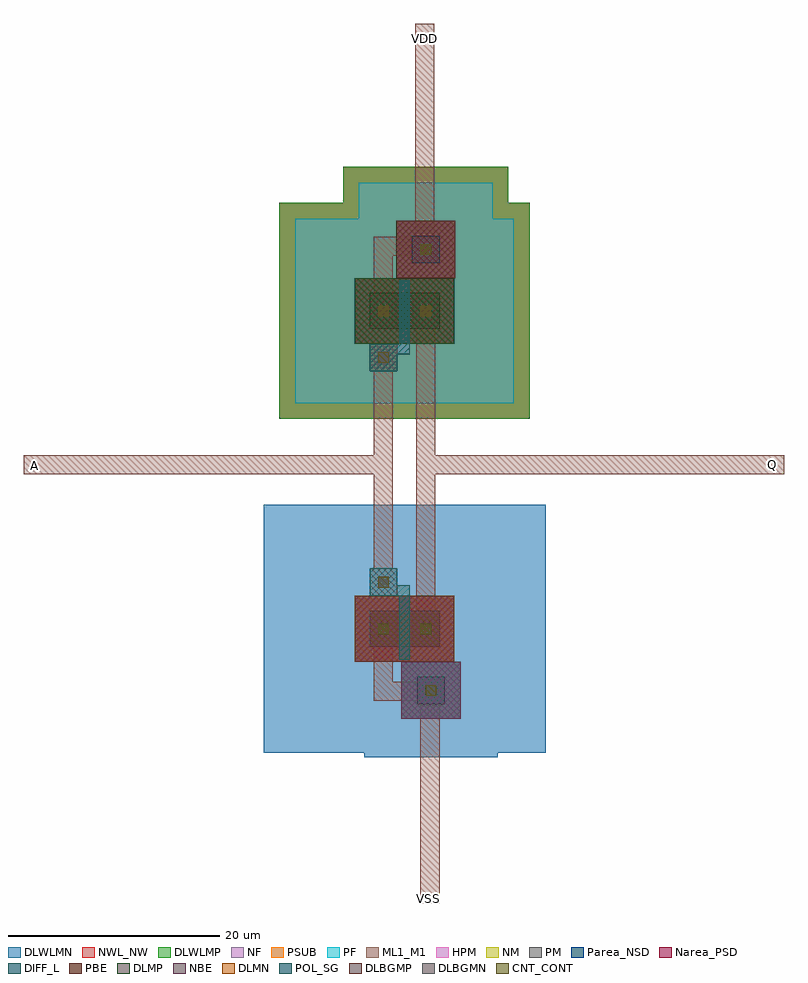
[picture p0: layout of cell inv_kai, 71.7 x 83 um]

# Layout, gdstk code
import gdstk
lib = gdstk.Library(unit=1e-6, precision=1e-07)
def R(c, l, rs):  # rectangles x0, y0, x1, y1
    for r in rs: c.add(gdstk.rectangle(r[:2], r[2:], *l))
DIFF_L = (3, 0)
NM = (7, 0)
POL_SG = (8, 0)
Narea_PSD = (9, 0)
CNT_CONT = (11, 0)
ML1_M1 = (13, 0)
NF = (25, 0)
PF = (26, 0)
Parea_NSD = (28, 0)
HPM = (33, 0)
PM = (35, 0)
NWL_NW = (36, 0)
PSUB = (140, 0)
PBE = (146, 0)
NBE = (147, 0)
DLWLMP = (150, 0)
DLWLMN = (151, 0)
DLMP = (157, 0)
DLMN = (158, 0)
DLBGMP = (177, 0)
DLBGMN = (178, 0)

dcont = lib.new_cell('dcont')
R(dcont, DIFF_L, [(-1.3,-1.3,1.3,1.3)])
R(dcont, CNT_CONT, [(-0.5,-0.5,0.5,0.5)])
R(dcont, ML1_M1, [(-1.3,-1.3,1.3,1.3), (-0.5,-0.5,0.5,0.5)])

pcont = lib.new_cell('pcont')
R(pcont, POL_SG, [(-1.3,-1.3,1.3,1.3)])
R(pcont, CNT_CONT, [(-0.5,-0.5,0.5,0.5)])
R(pcont, ML1_M1, [(-1.3,-1.3,1.3,1.3), (-0.5,-0.5,0.5,0.5)])

c_dcont = lib.new_cell('DCONT')
R(c_dcont, DIFF_L, [(-1.3,-1.3,1.3,1.3)])
R(c_dcont, CNT_CONT, [(-0.5,-0.5,0.5,0.5)])
R(c_dcont, ML1_M1, [(-1.3,-1.3,1.3,1.3), (-0.5,-0.5,0.5,0.5)])

nsubcont = lib.new_cell('nsubcont')
R(nsubcont, NM, [(-2.8,-2.7,2.8,2.7)])
R(nsubcont, Narea_PSD, [(-2.8,-2.7,2.8,2.7)])
R(nsubcont, NF, [(-6.3,-6.3,6.3,6.3)])
R(nsubcont, PF, [(-6.3,-6.3,6.3,6.3)])
R(nsubcont, HPM, [(-2.8,-2.7,2.8,2.7)])
R(nsubcont, PM, [(-2.8,-2.7,2.8,2.7)])
R(nsubcont, NWL_NW, [(-7.8,-7.8,7.8,7.8)])
R(nsubcont, PSUB, [(-6.3,-6.3,6.3,6.3)])
R(nsubcont, DLWLMP, [(-7.8,-7.8,7.8,7.8)])
R(nsubcont, DLBGMP, [(-2.8,-2.7,2.8,2.7)])
nsubcont.add(gdstk.Reference(c_dcont, (0,0)))

mp_1 = lib.new_cell('MP$1')
R(mp_1, DIFF_L, [(0,3.6,6.6,7)])
R(mp_1, NM, [(-1.4,2.2,8,8.4)])
R(mp_1, NF, [(-7,-3.4,13.6,14)])
R(mp_1, PF, [(-7,-3.4,13.6,14)])
R(mp_1, Parea_NSD, [(-1.4,2.2,8,8.4)])
R(mp_1, HPM, [(-1.4,2.2,8,8.4)])
R(mp_1, NWL_NW, [(-8.5,-4.9,15.1,15.5)])
R(mp_1, PSUB, [(-7,-3.4,13.6,14)])
R(mp_1, PBE, [(-1.4,2.2,8,8.4)])
R(mp_1, DLWLMP, [(-8.5,-4.9,15.1,15.5)])
R(mp_1, DLMP, [(-1.4,2.2,8,8.4)])
mp_1.add(gdstk.FlexPath([(1.3,3.6),(1.3,7)], 2.6, ends="flush", simple_path=True, layer=13, datatype=0))  # ML1_M1
mp_1.add(gdstk.FlexPath([(5.3,3.6),(5.3,7)], 2.6, ends="flush", simple_path=True, layer=13, datatype=0))  # ML1_M1
mp_1.add(gdstk.FlexPath([(1.3,6),(1.3,9.3)], 1.8, ends="flush", simple_path=True, layer=13, datatype=0))  # ML1_M1
mp_1.add(gdstk.FlexPath([(5.3,1.3),(5.3,4.6)], 1.8, ends="flush", simple_path=True, layer=13, datatype=0))  # ML1_M1
mp_1.add(gdstk.FlexPath([(3.3,3.6),(3.3,7)], 1, ends=(1.2, 1.2), simple_path=True, layer=8, datatype=0))  # POL_SG
mp_1.add(gdstk.FlexPath([(1.3,1.7),(3.3,1.7),(3.3,2.4)], 1, ends="flush", simple_path=True, layer=8, datatype=0))  # POL_SG
mp_1.add(gdstk.Reference(dcont, (1.3,5.3)))
mp_1.add(gdstk.Reference(dcont, (5.3,5.3)))
mp_1.add(gdstk.Reference(pcont, (1.3,0.9)))
mp_1.add(gdstk.Reference(nsubcont, (5.3,11.1)))

psubcont = lib.new_cell('psubcont')
R(psubcont, NM, [(-2.8,-2.7,2.8,2.7)])
R(psubcont, Parea_NSD, [(-2.8,-2.7,2.8,2.7)])
R(psubcont, HPM, [(-2.8,-2.7,2.8,2.7)])
R(psubcont, PM, [(-2.8,-2.7,2.8,2.7)])
R(psubcont, DLWLMN, [(-6.3,-6.3,6.3,6.3)])
R(psubcont, DLBGMN, [(-2.8,-2.7,2.8,2.7)])
psubcont.add(gdstk.Reference(c_dcont, (0,0)))

c_mn = lib.new_cell('MN')
R(c_mn, DIFF_L, [(0,3.6,6.6,7)])
R(c_mn, Narea_PSD, [(-1.4,2.2,8,8.4)])
R(c_mn, HPM, [(-1.4,2.2,8,8.4)])
R(c_mn, PM, [(-1.4,2.2,8,8.4)])
R(c_mn, NBE, [(-1.4,2.2,8,8.4)])
R(c_mn, DLWLMN, [(-10,-6.4,16.6,17)])
R(c_mn, DLMN, [(-1.4,2.2,8,8.4)])
c_mn.add(gdstk.FlexPath([(1.3,3.6),(1.3,7)], 2.6, ends="flush", simple_path=True, layer=13, datatype=0))  # ML1_M1
c_mn.add(gdstk.FlexPath([(5.3,3.6),(5.3,7)], 2.6, ends="flush", simple_path=True, layer=13, datatype=0))  # ML1_M1
c_mn.add(gdstk.FlexPath([(1.3,1.3),(1.3,4.6)], 1.8, ends="flush", simple_path=True, layer=13, datatype=0))  # ML1_M1
c_mn.add(gdstk.FlexPath([(5.3,6),(5.3,9.3)], 1.8, ends="flush", simple_path=True, layer=13, datatype=0))  # ML1_M1
c_mn.add(gdstk.FlexPath([(3.3,3.6),(3.3,7)], 1, ends=(1.2, 1.2), simple_path=True, layer=8, datatype=0))  # POL_SG
c_mn.add(gdstk.FlexPath([(1.3,8.9),(3.3,8.9),(3.3,8.2)], 1, ends="flush", simple_path=True, layer=8, datatype=0))  # POL_SG
c_mn.add(gdstk.Reference(dcont, (1.3,5.3)))
c_mn.add(gdstk.Reference(dcont, (5.3,5.3)))
c_mn.add(gdstk.Reference(pcont, (1.3,9.7)))
c_mn.add(gdstk.Reference(psubcont, (5.8,-0.5)))

inv_kai = lib.new_cell('inv_kai')
inv_kai.add(gdstk.FlexPath([(5.2,11),(5.2,32.4)], 1.8, ends="flush", simple_path=True, layer=13, datatype=0))  # ML1_M1
inv_kai.add(gdstk.FlexPath([(5.3,11.4),(1.3,11.4),(1.3,9.2)], 1.8, ends="flush", simple_path=True, layer=13, datatype=0))  # ML1_M1
inv_kai.add(gdstk.FlexPath([(5.3,-21.3),(5.3,2)], 1.8, ends="flush", simple_path=True, layer=13, datatype=0))  # ML1_M1
inv_kai.add(gdstk.FlexPath([(5.8,-30.6),(1.3,-30.6),(1.3,-27.8)], 1.8, ends="flush", simple_path=True, layer=13, datatype=0))  # ML1_M1
inv_kai.add(gdstk.FlexPath([(5.7,-30.5),(5.7,-50.6)], 1.8, ends="flush", simple_path=True, layer=13, datatype=0))  # ML1_M1
inv_kai.add(gdstk.FlexPath([(1.5,-9.2),(-32.6,-9.2)], 1.8, ends="flush", simple_path=True, layer=13, datatype=0))  # ML1_M1
inv_kai.add(gdstk.FlexPath([(5.3,-9.2),(39.1,-9.2)], 1.8, ends="flush", simple_path=True, layer=13, datatype=0))  # ML1_M1
inv_kai.add(gdstk.FlexPath([(1.3,0.9),(1.3,-20.6),(1.2,-20.6),(1.2,-20.8)], 1.8, ends="flush", simple_path=True, layer=13, datatype=0))  # ML1_M1
inv_kai.add(gdstk.Reference(mp_1, (0,0)))
inv_kai.add(gdstk.Reference(c_mn, (0,-30)))
inv_kai.add(gdstk.Label('VDD', (5.2,31), layer=13, texttype=0))
inv_kai.add(gdstk.Label('VSS', (5.6,-50.1), layer=13, texttype=0))
inv_kai.add(gdstk.Label('A', (-31.6,-9.3), layer=13, texttype=0))
inv_kai.add(gdstk.Label('Q', (38,-9.2), layer=13, texttype=0))

lib.write_gds('inv_kai.gds')
